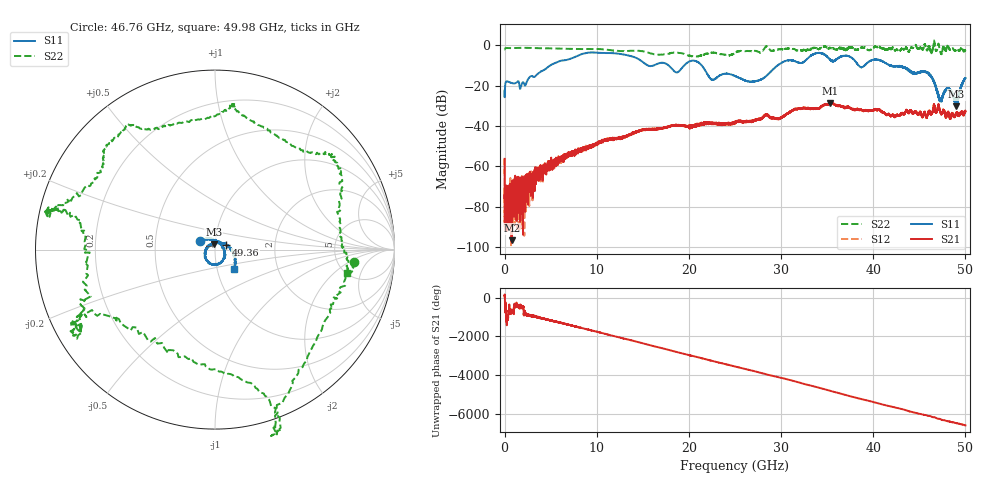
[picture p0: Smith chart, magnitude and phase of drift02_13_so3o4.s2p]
!Created with skrf (http://scikit-rf.org).
# Hz S RI R 50.0
!freq ReS11 ImS11 ReS21 ImS21 ReS12 ImS12 ReS22 ImS22
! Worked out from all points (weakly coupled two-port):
!   10001 points, 300 kHz to 50 GHz, reference 50 ohm
!   highest |S21| = -28.62 dB at 35.3 GHz (marker M1); lowest = -96.5 dB at 775.3 MHz (marker M2)
!   lowest |S11| = -30.2 dB at 49.03 GHz (marker M3), VSWR 1.06, Z = 49.2 + j2.97 ohm
!   |S11| at or under -10 dB: start of sweep to 4.957 GHz; 21.38 GHz to 29.63 GHz (8.256 GHz wide, 32.4 % of centre); 41.87 GHz to end of sweep (the widest 3 of 9)
!   |S22| runs from -5.7 to 2.3 dB; largest |S21 - S12| = 0.0033
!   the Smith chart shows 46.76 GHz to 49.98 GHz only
!   S11 on the Smith chart (normalised r, x): 46.76 GHz: 0.84, +0.09; 49.36 GHz: 1.13, +0.06; 49.98 GHz: 1.20, -0.27
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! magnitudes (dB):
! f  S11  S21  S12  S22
! 300 kHz  -22.5  -56.2  -55.9  -2.1
! 255.3 MHz  -17.9  -74.1  -76.0  -1.4
! 775.3 MHz  -18.8  -96.5  -72.9  -1.5
! 8.335 GHz  -4.5  -52.0  -51.9  -1.9
! 16.67 GHz  -9.1  -41.4  -41.4  -4.7
! 18.69 GHz  -13.5  -39.6  -39.7  -3.7
! 20.6 GHz  -7.7  -40.1  -39.8  -5.7
! 22.5 GHz  -17.2  -38.7  -38.6  -3.7
! 25 GHz  -15.2  -38.2  -38.5  -3.9
! 27.47 GHz  -17.6  -36.7  -36.4  -3.2
! 30.22 GHz  -8.3  -35.4  -35.1  -2.1
! 33.34 GHz  -4.9  -31.3  -31.3  -1.6
! 35.3 GHz  -7.0  -28.6  -28.9  -1.3
! 41.67 GHz  -9.6  -34.0  -34.4  -1.9
! 45.77 GHz  -13.5  -35.8  -35.8  -2.0
! 46.76 GHz  -20.1  -32.9  -32.5  -2.2
! 47.27 GHz  -27.2  -33.0  -32.9  -3.3
! 48.12 GHz  -21.3  -33.5  -33.3  -0.6
! 49.03 GHz  -30.2  -33.1  -34.1  -2.0
! 49.36 GHz  -23.3  -34.0  -34.5  -2.9
! 49.98 GHz  -16.4  -32.9  -33.1  -2.6
! 50 GHz  -16.3  -32.7  -32.6  -2.6
